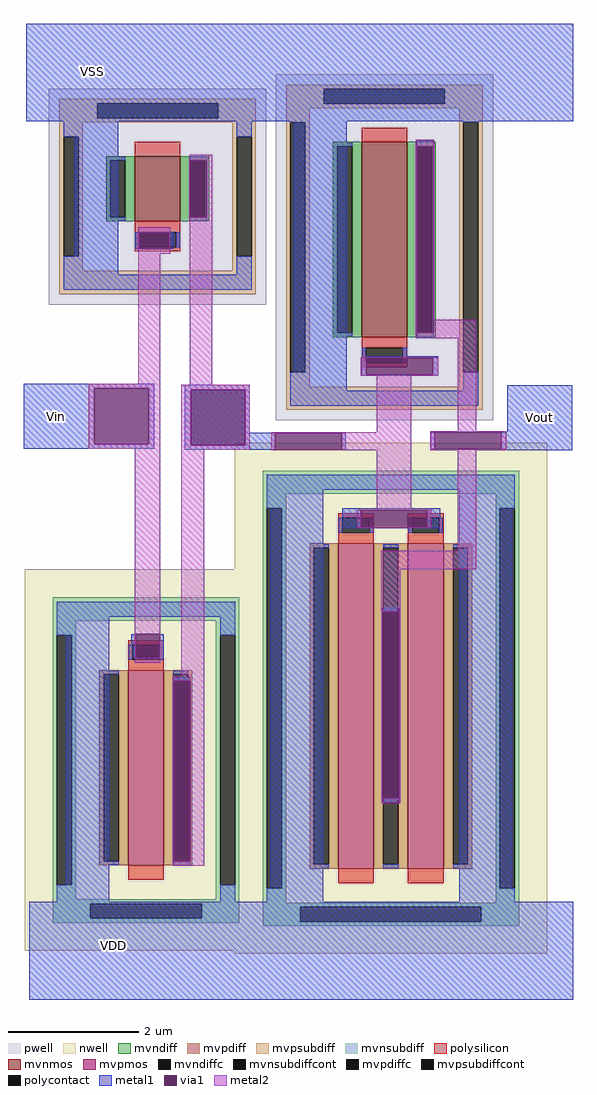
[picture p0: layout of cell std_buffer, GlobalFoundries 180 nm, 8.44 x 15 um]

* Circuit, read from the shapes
.subckt std_buffer VDD VSS Vin Vout
XM1 X0/Vin Vin VSS VSS nfet_06v0 w=1u l=0.7u
XM2 Vout X0/Vin VSS VSS nfet_06v0 w=3u l=0.7u
XM3 X0/Vin Vin VDD VDD pfet_06v0 w=3u l=0.55u
XM4 Vout X0/Vin VDD VDD pfet_06v0 w=5u l=0.55u m=2
.ends

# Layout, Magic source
magic
tech gf180mcuD
magscale 1 10
<< metal1 >>
rect 1101 2992 1587 3292
rect 1249 2492 1384 2992
rect 1604 2871 1656 2883
rect 1604 2685 1656 2697
rect 1436 2599 1448 2651
rect 1542 2599 1554 2651
rect 1094 2171 1494 2185
rect 1094 1999 1310 2171
rect 1478 1999 1494 2171
rect 1094 1985 1494 1999
rect 2580 1980 2780 2180
rect 1222 592 1356 1483
rect 1424 1342 1437 1414
rect 1511 1342 1524 1414
rect 1553 1271 1605 1283
rect 1553 705 1605 717
rect 1111 292 1596 592
<< via1 >>
rect 1604 2697 1656 2871
rect 1448 2599 1542 2651
rect 1310 1999 1478 2171
rect 1607 1995 1775 2167
rect 1437 1342 1511 1414
rect 1553 717 1605 1271
<< metal2 >>
rect 1604 2885 1673 2888
rect 1602 2871 1673 2885
rect 1602 2697 1604 2871
rect 1656 2697 1673 2871
rect 1602 2683 1673 2697
rect 1446 2651 1544 2665
rect 1446 2599 1448 2651
rect 1542 2599 1544 2651
rect 1446 2584 1544 2599
rect 1446 2185 1513 2584
rect 1294 2171 1513 2185
rect 1604 2182 1673 2683
rect 1294 1999 1310 2171
rect 1478 1999 1513 2171
rect 1294 1985 1513 1999
rect 1435 1414 1513 1985
rect 1435 1342 1437 1414
rect 1511 1342 1513 1414
rect 1435 1327 1513 1342
rect 1578 2167 1788 2182
rect 1578 1995 1607 2167
rect 1775 1995 1788 2167
rect 1578 1982 1788 1995
rect 1578 1285 1649 1982
rect 1551 1271 1649 1285
rect 1551 717 1553 1271
rect 1605 717 1649 1271
rect 1551 703 1649 717
use std_inverter  X0
transform 1 0 1322 0 1 1642
box 265 -1350 1460 1650
use pmos_6p0_GUW2N9  XM2 primitives
transform 1 0 1474 0 1 1028
box -378 -586 368 586
use nmos_6p0_BUMBUS  XM3 primitives
transform 1 0 1505 0 1 2760
box -334 -332 334 332
<< labels >>
flabel metal1 1094 1985 1294 2185 0 FreeSans 1280 0 0 0 Vin
port 2 nsew
flabel metal1 1206 3043 1406 3243 0 FreeSans 1280 0 0 0 VSS
port 1 nsew
flabel metal1 1268 357 1468 557 0 FreeSans 1280 0 0 0 VDD
port 0 nsew
flabel metal1 2580 1980 2780 2180 0 FreeSans 1280 0 0 0 Vout
port 3 nsew
<< end >>

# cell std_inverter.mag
magic
tech gf180mcuD
magscale 1 10
<< metal1 >>
rect 265 1350 1460 1650
rect 266 392 466 540
rect 602 496 765 1350
rect 979 1273 1031 1290
rect 979 687 1031 699
rect 811 622 1045 627
rect 811 570 824 622
rect 1028 570 1045 622
rect 811 567 1045 570
rect 1258 393 1458 538
rect 266 340 545 392
rect 749 340 761 392
rect 1023 341 1035 393
rect 1239 341 1458 393
rect 1258 338 1458 341
rect 529 -1050 692 253
rect 750 154 1051 160
rect 750 102 808 154
rect 1012 102 1051 154
rect 750 99 1051 102
rect 874 -158 926 -146
rect 874 -745 926 -732
rect 1110 -1050 1273 257
rect 265 -1350 1460 -1050
<< via1 >>
rect 979 699 1031 1273
rect 824 570 1028 622
rect 545 340 749 392
rect 1035 341 1239 393
rect 808 102 1012 154
rect 874 -732 926 -158
<< metal2 >>
rect 977 1273 1033 1292
rect 977 699 979 1273
rect 1031 740 1033 1273
rect 1031 699 1162 740
rect 977 683 1162 699
rect 807 622 1045 624
rect 807 570 824 622
rect 1028 570 1045 622
rect 807 568 1045 570
rect 856 394 962 568
rect 1105 396 1162 683
rect 533 392 962 394
rect 533 340 545 392
rect 749 340 962 392
rect 533 338 962 340
rect 1021 393 1254 396
rect 1021 341 1035 393
rect 1239 341 1254 393
rect 1021 338 1254 341
rect 856 156 962 338
rect 796 154 1024 156
rect 796 102 808 154
rect 1012 102 1024 154
rect 796 100 1024 102
rect 1105 29 1162 338
rect 871 -28 1162 29
rect 871 -156 928 -28
rect 872 -158 928 -156
rect 872 -732 874 -158
rect 926 -732 928 -158
rect 872 -747 928 -732
use pmos_6p0_MUW2NR  XM0 primitives
transform 1 0 900 0 1 -424
box -480 -786 480 786
use nmos_6p0_BUMBJU  XM1 primitives
transform 1 0 880 0 1 962
box -334 -532 334 532
<< labels >>
flabel metal1 1258 338 1458 538 0 FreeSans 1280 0 0 0 Vout
port 3 nsew
flabel metal1 266 340 466 540 0 FreeSans 1280 0 0 0 Vin
port 2 nsew
flabel metal1 780 1419 980 1619 0 FreeSans 1280 0 0 0 VSS
port 1 nsew
flabel metal1 758 -1302 958 -1102 0 FreeSans 1280 0 0 0 VDD
port 0 nsew
<< end >>

# cell pmos_6p0_GUW2N9: kit device pmos_6p0, w 3.0 l 0.5 m 1 nf 1 diffcov 100 polycov 100 guard 1 glc 1 grc 1 gtc 0 gbc 1 tbcov 100 rlcov 100 topc 1 botc 0 poverlap 0 doverlap 1 lmin 0.5 wmin 0.3 full_metal 1 compatible {pmos_3p3 pmos_6p0}

# cell nmos_6p0_BUMBUS: kit device nmos_6p0, w 1.0 l 0.7 m 1 nf 1 diffcov 100 polycov 100 guard 1 glc 1 grc 1 gtc 1 gbc 0 tbcov 100 rlcov 100 topc 0 botc 1 poverlap 0 doverlap 1 lmin 0.6 wmin 0.3 full_metal 1 compatible {nmos_3p3 nmos_6p0 nmos_6p0_nat}

# cell pmos_6p0_MUW2NR: kit device pmos_6p0, w 5.0 l 0.5 m 1 nf 2 diffcov 100 polycov 100 guard 1 glc 1 grc 1 gtc 0 gbc 1 tbcov 100 rlcov 100 topc 1 botc 0 poverlap 0 doverlap 1 lmin 0.5 wmin 0.3 full_metal 1 compatible {pmos_3p3 pmos_6p0}

# cell nmos_6p0_BUMBJU: kit device nmos_6p0, w 3.0 l 0.7 m 1 nf 1 diffcov 100 polycov 100 guard 1 glc 1 grc 1 gtc 1 gbc 0 tbcov 100 rlcov 100 topc 0 botc 1 poverlap 0 doverlap 1 lmin 0.6 wmin 0.3 full_metal 1 compatible {nmos_3p3 nmos_6p0 nmos_6p0_nat}
